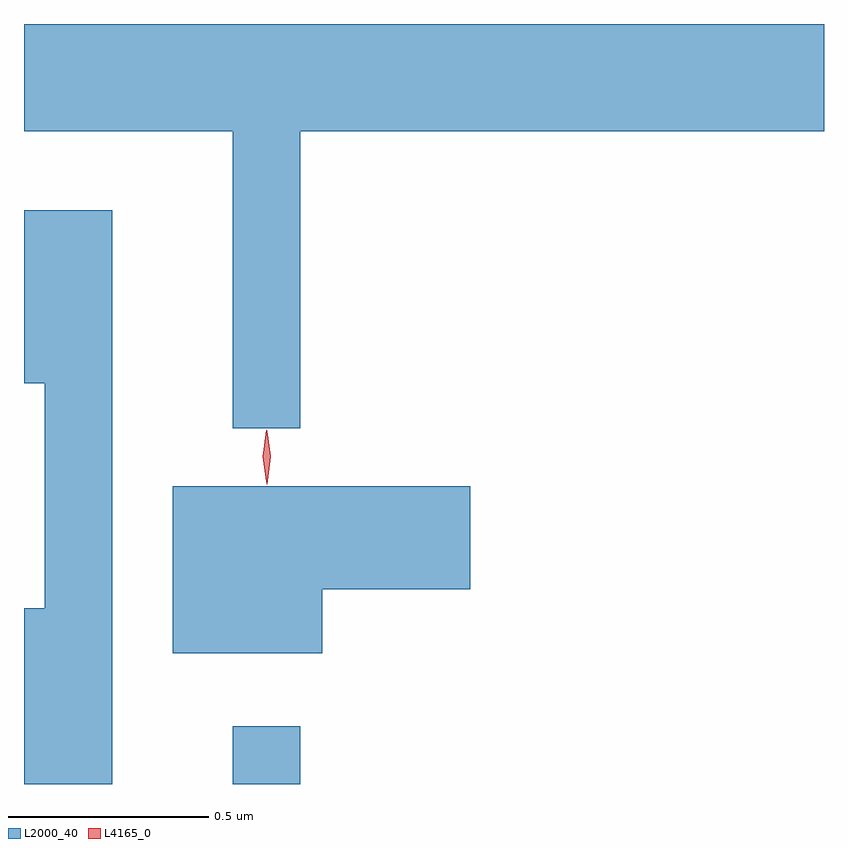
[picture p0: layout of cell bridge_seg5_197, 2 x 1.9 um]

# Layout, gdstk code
import gdstk
lib = gdstk.Library(unit=1e-6, precision=1e-09)
def R(c, l, rs):  # rectangles x0, y0, x1, y1
    for r in rs: c.add(gdstk.rectangle(r[:2], r[2:], *l))
def P(c, l, *ps):  # polygons
    for p in ps: c.add(gdstk.Polygon(p, *l))
L2000_40 = (2000, 40)
L4165_0 = (4165, 0)

bridge_seg5_197 = lib.new_cell('bridge_seg5_197')
R(bridge_seg5_197, L2000_40, [(1307.141,1446.284,1307.309,1446.428)])
P(bridge_seg5_197, L2000_40, [(1307.309,1447.916),(1308.619,1447.916),(1308.619,1448.184),(1306.619,1448.184),(1306.619,1447.916),(1307.141,1447.916),(1307.141,1447.173),(1307.309,1447.173)],
  [(1306.839,1447.719),(1306.619,1447.719),(1306.619,1447.286),(1306.671,1447.286),(1306.671,1446.724),(1306.619,1446.724),(1306.619,1446.284),(1306.839,1446.284)],
  [(1307.364,1446.771),(1307.734,1446.771),(1307.734,1447.029),(1306.991,1447.029),(1306.991,1446.611),(1307.364,1446.611)])
P(bridge_seg5_197, L4165_0, [(1307.226,1447.034),(1307.226,1447.034),(1307.216,1447.102),(1307.225,1447.169),(1307.226,1447.17),(1307.226,1447.169),(1307.236,1447.102),(1307.227,1447.034)],
  [(1307.225,1447.04),(1307.224,1447.041),(1307.216,1447.104),(1307.226,1447.166),(1307.227,1447.167),(1307.227,1447.166),(1307.236,1447.103),(1307.225,1447.041)])

lib.write_gds('bridge_seg5_197.gds')
